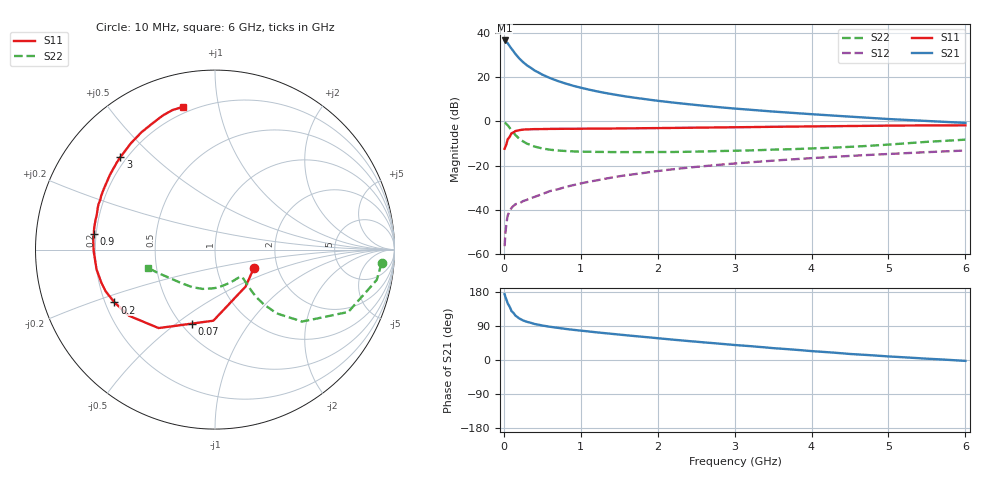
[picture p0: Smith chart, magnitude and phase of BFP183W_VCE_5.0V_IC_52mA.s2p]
! (c) 2017  Infineon Technologies AG, Munich
! Infineon Technologies  Discrete & RF Semiconductors
! BFP183W
! VCE =  5.0 V,  IC =  52 mA
! Common Emitter S-Parameters:  Jan 2017
# GHz  S  MA  R  50
!  f  S11  S21  S12  S22
! GHz  MAG  ANG  MAG  ANG  MAG  ANG  MAG  ANG
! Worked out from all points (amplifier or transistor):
!   77 points, 10 MHz to 6 GHz, reference 50 ohm
!   highest |S21| = 36.6 dB at 10 MHz (marker M1)
!   |S21| within 3 dB of that: start of sweep to 84.29 MHz
!   unconditionally stable (mu >= 1): 614.3 MHz to 3.409 GHz
!   at 130 MHz: K = 0.43, MSG = 34.8 dB, |S12| = -38.1 dB
!   at 2.2 GHz: K = 1.08, MAG = 13.4 dB, |S12| = -21.7 dB
!   at 6 GHz: K = 0.86, MSG = 6.2 dB, |S12| = -13.2 dB
!   S11 on the Smith chart (normalised r, x): 10 MHz: 1.51, -0.33; 70 MHz: 0.56, -0.57; 200 MHz: 0.24, -0.23; 900 MHz: 0.19, +0.06; 3 GHz: 0.18, +0.40; 6 GHz: 0.17, +0.79
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0.01  0.2396 -25.6  67.87 173.8  0.0015 93.5  0.9308 -4.7
0.02  0.2674 -50.4  66.77 166.7  0.0029 89.1  0.9169 -10.6
0.05  0.3962 -91.3  58.77 149.3  0.0074 65.6  0.8198 -25.1
0.07  0.4328 -107.6  52.2 142.6  0.0088 60.9  0.7381 -30.0
0.1  0.5383 -125.7  44.15 129.1  0.011 56.1  0.6288 -39.6
0.15  0.6043 -142.4  33.64 117.4  0.0134 51.4  0.4925 -46.0
0.2  0.6328 -152.3  26.62 109.7  0.0138 48.8  0.4079 -48.3
0.25  0.6518 -159.1  21.94 104.4  0.0157 50.7  0.3526 -49.0
0.3  0.6594 -163.8  18.55 100.7  0.0168 52.1  0.3141 -48.7
0.4  0.6692 -170.5  14.19 95.0  0.0196 55.5  0.2687 -47.5
0.5  0.6708 -175.3  11.43 91.0  0.0227 58.9  0.2441 -46.5
0.6  0.6758 -179.1  9.575 87.7  0.0265 60.4  0.2287 -45.8
0.7  0.6779 178.0  8.225 84.9  0.029 63.4  0.2192 -45.4
0.9  0.6798 172.7  6.406 79.7  0.036 65.5  0.2098 -46.7
1.1  0.6844 168.3  5.268 75.4  0.0429 66.9  0.2057 -48.6
1.5  0.6933 160.4  3.875 67.1  0.0573 67.5  0.2015 -54.9
2.1  0.7081 149.6  2.796 55.6  0.0789 65.8  0.2026 -69.0
3  0.7369 135.7  1.952 39.6  0.1114 61.4  0.2168 -94.2
3.1  0.7396 134.2  1.893 38.1  0.1149 60.8  0.2184 -97.0
4.1  0.7738 120.8  1.419 22.1  0.1509 54.2  0.2475 -124.3
5.1  0.8035 110.5  1.108 8.3  0.1866 47.3  0.3071 -150.3
6  0.8155 102.5  0.924 -2.3  0.2194 40.5  0.386 -164.6
